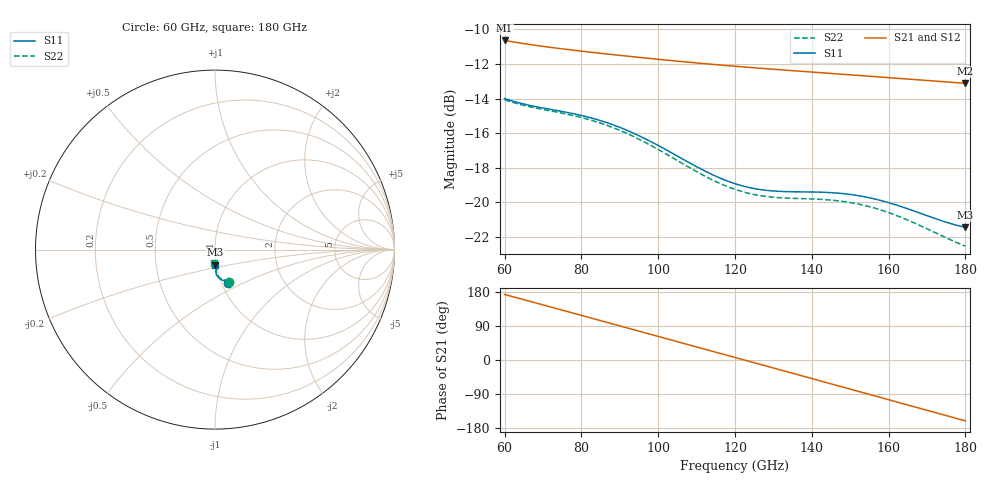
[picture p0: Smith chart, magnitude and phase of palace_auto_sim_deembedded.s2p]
! Created with skrf 1.11.0 (http://scikit-rf.org).
# GHz S DB R 50.0
!freq dBS11 angS11 dBS21 angS21 dBS12 angS12 dBS22 angS22
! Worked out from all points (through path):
!   101 points, 60 GHz to 180 GHz, reference 50 ohm
!   highest |S21| = -10.64 dB at 60 GHz (marker M1); lowest = -13.1 dB at 180 GHz (marker M2)
!   group delay of S21, straight-line fit = 7.72 ps
!   lowest |S11| = -21.4 dB at 180 GHz (marker M3), VSWR 1.19, Z = 49.4 - j8.43 ohm
!   |S11| at or under -10 dB: start of sweep to end of sweep
!   |S22| runs from -22.5 to -14.1 dB; largest |S21 - S12| = 3.2e-13
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60  -13.99 -68.7  -10.64 172.9  -10.64 172.9  -14.07 -67.6
64.8  -14.31 -69.1  -10.82 159.7  -10.82 159.7  -14.38 -68.1
69.6  -14.53 -70.2  -10.97 146.5  -10.97 146.5  -14.61 -69.2
75.6  -14.77 -72.5  -11.15 129.9  -11.15 129.9  -14.87 -71.5
80.4  -15.00 -74.9  -11.27 116.6  -11.27 116.6  -15.12 -74.0
85.2  -15.29 -77.7  -11.39 103.3  -11.39 103.3  -15.44 -76.8
90  -15.67 -80.5  -11.51 90.0  -11.51 90.0  -15.84 -79.6
94.8  -16.13 -83.2  -11.62 76.7  -11.62 76.7  -16.33 -82.3
100.8  -16.81 -85.8  -11.75 60.0  -11.75 60.0  -17.04 -84.9
110.4  -17.98 -87.6  -11.95 33.3  -11.95 33.3  -18.27 -86.7
115.2  -18.51 -87.3  -12.04 20.0  -12.04 20.0  -18.81 -86.4
120  -18.92 -86.4  -12.13 6.7  -12.13 6.7  -19.24 -85.5
124.8  -19.19 -85.2  -12.22 -6.6  -12.22 -6.6  -19.53 -84.4
129.6  -19.33 -84.3  -12.30 -20.0  -12.30 -20.0  -19.69 -83.6
134.4  -19.38 -83.9  -12.38 -33.3  -12.38 -33.3  -19.76 -83.3
140.4  -19.40 -84.3  -12.48 -50.1  -12.48 -50.1  -19.80 -84.1
146.4  -19.45 -85.7  -12.57 -66.8  -12.57 -66.8  -19.90 -85.8
151.2  -19.58 -87.2  -12.65 -80.2  -12.65 -80.2  -20.05 -87.6
156  -19.78 -88.7  -12.73 -93.6  -12.73 -93.6  -20.30 -89.6
160.8  -20.07 -90.1  -12.81 -107.0  -12.81 -107.0  -20.65 -91.4
171.6  -20.89 -91.0  -12.98 -137.2  -12.98 -137.2  -21.69 -93.5
180  -21.44 -89.1  -13.12 -160.6  -13.12 -160.6  -22.53 -92.5
